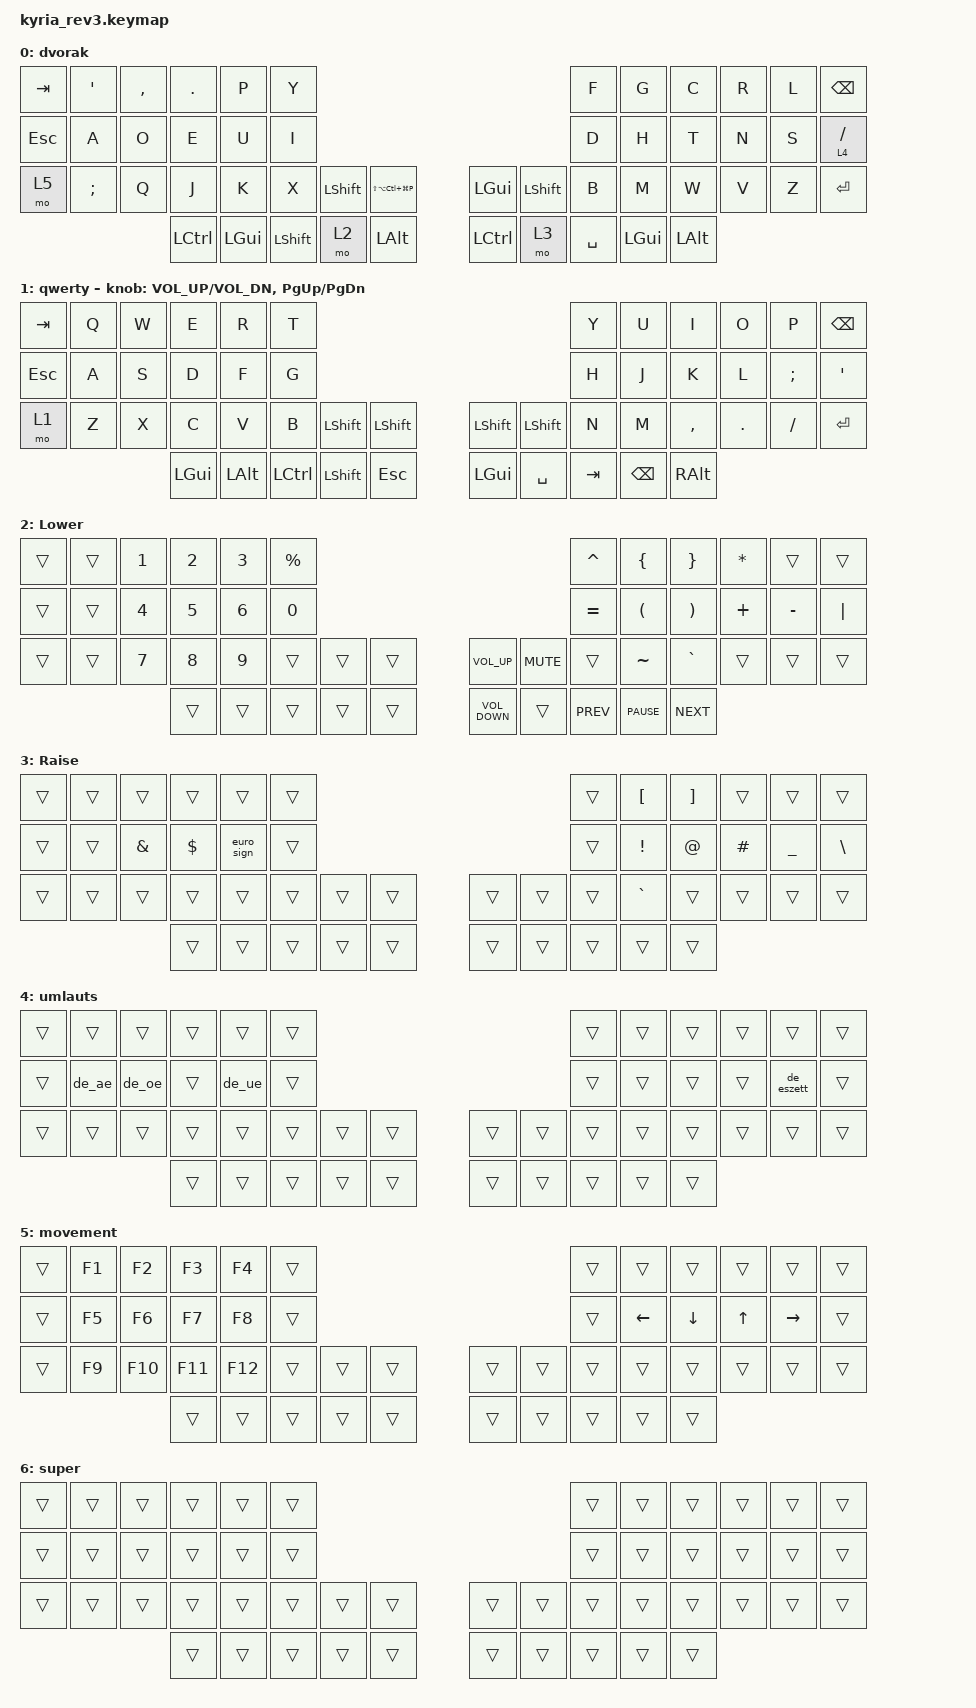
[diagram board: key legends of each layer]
/*
 * Copyright (c) 2020 The ZMK Contributors
 *
 * SPDX-License-Identifier: MIT
 */

#include <behaviors.dtsi>
#include <dt-bindings/zmk/keys.h>

// Copied from https://github.com/urob/zmk-nodefree-config

#define HOST_OS 2  // set to 2 for macOS/Windows-Alt-Codes, default is 0 (Windows)

#include "../zmk-nodefree-config/helper.h"
#include "../zmk-nodefree-config/international_chars/german.dtsi"

ZMK_UNICODE_SINGLE(euro_sign, N2, N0, A, C)

&mt { tapping-term-ms = <300>; };

// Layers

#define DVORAK 0
#define QWERTY 1
#define LOWER 2
#define RAISE 3
#define UMLAUTS 4
#define MOVEMENT 5
#define SUPER 6

/ {
    keymap {
        compatible = "zmk,keymap";

        dvorak {
            // ---------------------------------------------------------------------------------------------------------------------------------
            // |  ESC  |  Q  |  W  |  E   |  R   |  T   |                                          |  Y   |  U    |  I    |  O   |   P   |   \  |
            // |  TAB  |  A  |  S  |  D   |  F   |  G   |                                          |  H   |  J    |  K    |  L   |   ;   |   '  |
            // | SHIFT |  Z  |  X  |  C   |  V   |  B   | L SHIFT | L SHIFT |  | L SHIFT | L SHIFT |  N   |  M    |  ,    |  .   |   /   | CTRL |
            //                     | GUI  | DEL  | RET  |  SPACE  |   ESC   |  |   RET   |  SPACE  | TAB  | BSPC  | R-ALT |

            bindings = <
&kp TAB  &kp SINGLE_QUOTE  &kp COMMA  &kp DOT           &kp P     &kp Y                                                                          &kp F      &kp G     &kp C         &kp R  &kp L  &kp BSPC
&kp ESC  &kp A             &kp O      &kp E             &kp U     &kp I                                                                          &kp D      &kp H     &kp T         &kp N  &kp S  &lt 4 SLASH
&mo 5    &kp SEMI          &kp Q      &kp J             &kp K     &kp X           &kp LSHFT  &kp LS(LA(LC(LG(P))))  &kp LGUI          &kp LSHFT  &kp B      &kp M     &kp W         &kp V  &kp Z  &kp ENTER
                                      &kp LEFT_CONTROL  &kp LGUI  &kp LEFT_SHIFT  &mo 2      &kp LEFT_ALT           &kp LEFT_CONTROL  &mo 3      &kp SPACE  &kp LGUI  &kp LEFT_ALT
            >;
        };

        qwerty {
            // ---------------------------------------------------------------------------------------------------------------------------------
            // |  ESC  |  Q  |  W  |  E   |  R   |  T   |                                          |  Y   |  U    |  I    |  O   |   P   |   \  |
            // |  TAB  |  A  |  S  |  D   |  F   |  G   |                                          |  H   |  J    |  K    |  L   |   ;   |   '  |
            // | SHIFT |  Z  |  X  |  C   |  V   |  B   | L SHIFT | L SHIFT |  | L SHIFT | L SHIFT |  N   |  M    |  ,    |  .   |   /   | CTRL |
            //                     | GUI  | DEL  | RET  |  SPACE  |   ESC   |  |   RET   |  SPACE  | TAB  | BSPC  | R-ALT |

            bindings = <
&kp TAB  &kp Q  &kp W  &kp E     &kp R         &kp T                                                              &kp Y    &kp U     &kp I      &kp O    &kp P     &kp BSPC
&kp ESC  &kp A  &kp S  &kp D     &kp F         &kp G                                                              &kp H    &kp J     &kp K      &kp L    &kp SEMI  &kp SQT
&mo 1    &kp Z  &kp X  &kp C     &kp V         &kp B             &kp LSHFT       &kp LSHFT  &kp LSHFT  &kp LSHFT  &kp N    &kp M     &kp COMMA  &kp DOT  &kp FSLH  &kp ENTER
                       &kp LGUI  &kp LEFT_ALT  &kp LEFT_CONTROL  &kp LEFT_SHIFT  &kp ESC    &kp LGUI   &kp SPACE  &kp TAB  &kp BSPC  &kp RALT
            >;

            sensor-bindings = <&inc_dec_kp C_VOL_UP C_VOL_DN &inc_dec_kp PG_UP PG_DN>;
        };

        Lower {
            bindings = <
&trans  &trans  &kp NUMBER_1  &kp NUMBER_2  &kp NUMBER_3  &kp PERCENT                                                  &kp CARET   &kp LEFT_BRACE        &kp RIGHT_BRACE        &kp STAR  &trans     &trans
&trans  &trans  &kp NUMBER_4  &kp NUMBER_5  &kp NUMBER_6  &kp NUMBER_0                                                 &kp EQUAL   &kp LEFT_PARENTHESIS  &kp RIGHT_PARENTHESIS  &kp PLUS  &kp MINUS  &kp PIPE
&trans  &trans  &kp NUMBER_7  &kp NUMBER_8  &kp NUMBER_9  &trans        &trans  &trans  &kp C_VOL_UP       &kp C_MUTE  &trans      &kp TILDE             &kp GRAVE              &trans    &trans     &trans
                              &trans        &trans        &trans        &trans  &trans  &kp C_VOLUME_DOWN  &trans      &kp C_PREV  &kp C_PAUSE           &kp C_NEXT
            >;
        };

        Raise {
            bindings = <
&trans  &trans  &trans         &trans      &trans      &trans                                  &trans  &kp LEFT_BRACKET  &kp RIGHT_BRACKET  &trans    &trans     &trans
&trans  &trans  &kp AMPERSAND  &kp DOLLAR  &euro_sign  &trans                                  &trans  &kp EXCL          &kp AT             &kp HASH  &kp UNDER  &kp BSLH
&trans  &trans  &trans         &trans      &trans      &trans  &trans  &trans  &trans  &trans  &trans  &kp GRAVE         &trans             &trans    &trans     &trans
                               &trans      &trans      &trans  &trans  &trans  &trans  &trans  &trans  &trans            &trans
            >;
        };

        umlauts {
            bindings = <
&trans  &trans  &trans  &trans  &trans  &trans                                  &trans  &trans  &trans  &trans  &trans      &trans
&trans  &de_ae  &de_oe  &trans  &de_ue  &trans                                  &trans  &trans  &trans  &trans  &de_eszett  &trans
&trans  &trans  &trans  &trans  &trans  &trans  &trans  &trans  &trans  &trans  &trans  &trans  &trans  &trans  &trans      &trans
                        &trans  &trans  &trans  &trans  &trans  &trans  &trans  &trans  &trans  &trans
            >;
        };

        movement {
            bindings = <
&trans  &kp F1  &kp F2   &kp F3   &kp F4   &trans                                  &trans  &trans    &trans    &trans  &trans     &trans
&trans  &kp F5  &kp F6   &kp F7   &kp F8   &trans                                  &trans  &kp LEFT  &kp DOWN  &kp UP  &kp RIGHT  &trans
&trans  &kp F9  &kp F10  &kp F11  &kp F12  &trans  &trans  &trans  &trans  &trans  &trans  &trans    &trans    &trans  &trans     &trans
                         &trans   &trans   &trans  &trans  &trans  &trans  &trans  &trans  &trans    &trans
            >;
        };

        super {
            bindings = <
&trans  &trans  &trans  &trans  &trans  &trans                                  &trans  &trans  &trans  &trans  &trans  &trans
&trans  &trans  &trans  &trans  &trans  &trans                                  &trans  &trans  &trans  &trans  &trans  &trans
&trans  &trans  &trans  &trans  &trans  &trans  &trans  &trans  &trans  &trans  &trans  &trans  &trans  &trans  &trans  &trans
                        &trans  &trans  &trans  &trans  &trans  &trans  &trans  &trans  &trans  &trans
            >;
        };
    };
};
